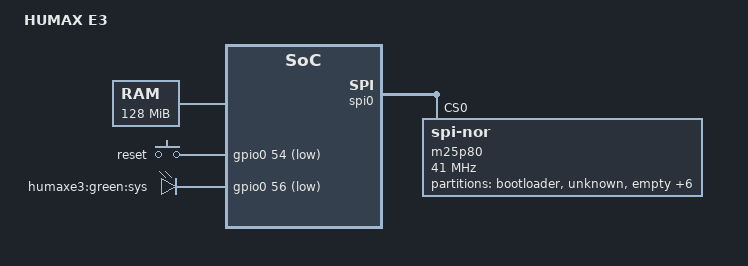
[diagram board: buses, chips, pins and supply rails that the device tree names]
// SPDX-License-Identifier: GPL-2.0
/dts-v1/;

#include "RTL8197F.dtsi"

#include <dt-bindings/gpio/gpio.h>
#include <dt-bindings/input/input.h>

/ {
	compatible = "humax,e3", "realtek,rtl8197f-soc";
	model = "HUMAX E3";
	
	aliases {
		led-boot = &led_status;
		led-failsafe = &led_status;
		led-running = &led_status;
		led-upgrade = &led_status;
	};

	memory {
		device_type = "memory";
		reg = <0x0 0x8000000>;
	};

	chosen {
		bootargs = "console=ttyS0,115200";
	};

	gpio-keys-polled {
		compatible = "gpio-keys-polled";
		#address-cells = <1>;
		#size-cells = <0>;
		poll-interval = <20>;

		reset {
			label = "reset";
			gpios = <&gpio0 54 GPIO_ACTIVE_LOW>;
			linux,code = <KEY_RESTART>;
		};
	};
	
	gpio-leds {
		compatible = "gpio-leds";

		led_status: sys {
			label = "humaxe3:green:sys";
			gpios = <&gpio0 56 GPIO_ACTIVE_LOW>;
		};
		
	};

};


&gpio0 {
	status = "okay";
};

&spi0 {
	status = "okay";

	m25p80@0 {
		#address-cells = <1>;
		#size-cells = <1>;
		compatible = "jedec,spi-nor";
		reg = <0>;
		spi-max-frequency = <41000000>;

		partition@0 {
			label = "bootloader";
			reg = <0x0 0x6000>;
			read-only;
		};
		partition@6000 {
			label = "unknown";
			reg = <0x6000 0xA000>;
			read-only;
		};

		partition@10000 {
			label = "empty";
			reg = <0x10000 0x10000>;
			read-only;
		};

		partition@20000 {
			label = "unknown2";
			reg = <0x20000 0xA000>;
			read-only;
		};

		partition@2A000 {
			label = "compcs";
			reg = <0x2A000 0x6000>;
			read-only;
		};
		
		partition@30000 {
			label = "factory";
			reg = <0x30000 0x10000>;
		};
		
		partition@40000 {
			label = "firmware";
			reg = <0x40000 0xF30000>;
		};

		partition@F70000 {
			label = "unknown3";
			reg = <0xF70000 0x80000>;
			read-only;
		};

		partition@FF0000 {
			label = "unknown4";
			reg = <0xFF0000 0x10000>;
			read-only;
		};
	};
};

